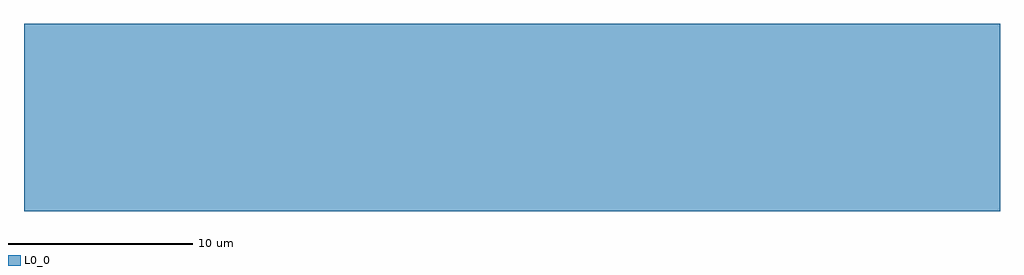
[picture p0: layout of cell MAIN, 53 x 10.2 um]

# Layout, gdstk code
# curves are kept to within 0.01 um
import gdstk
lib = gdstk.Library(unit=1e-6, precision=1e-09)
def R(c, l, rs):  # rectangles x0, y0, x1, y1
    for r in rs: c.add(gdstk.rectangle(r[:2], r[2:], *l))
def P(c, l, *ps):  # polygons
    for p in ps: c.add(gdstk.Polygon(p, *l))
L0_0 = (0, 0)

main_y = lib.new_cell('MAIN_Y')
R(main_y, L0_0, [(0,0,53,5.1), (50,0,53,0.5)])
P(main_y, L0_0, [(50,0.5),(38.214,0.341),(32.143,0.227),(28.214,0.17),(24.643,0.147),(10.357,0.11),(0,0.1),(0,0),(50,0)])

main = lib.new_cell('MAIN')
main.add(gdstk.Reference(main_y, (0,0)))
main.add(gdstk.Reference(main_y, (0,0), x_reflection=True))

lib.write_gds('MAIN.gds')
